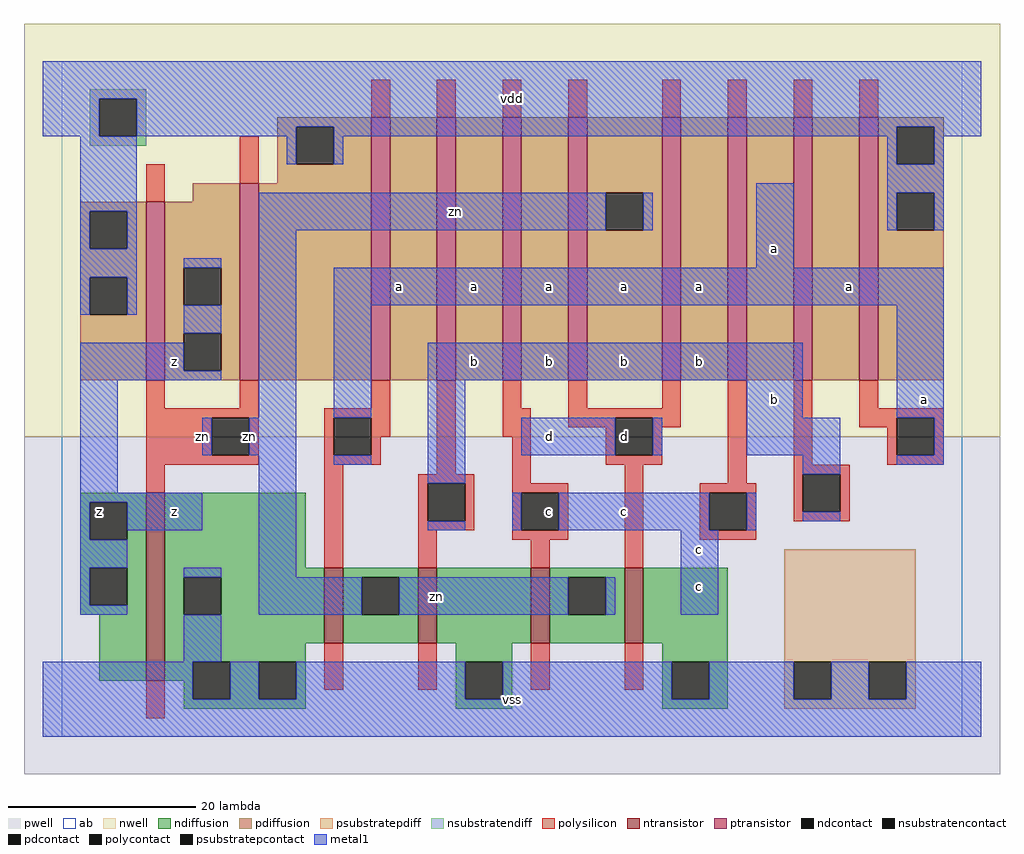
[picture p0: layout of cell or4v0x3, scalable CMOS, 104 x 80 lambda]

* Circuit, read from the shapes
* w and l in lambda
.subckt or4v0x3 a b c d vdd vss z zn
M1 vss zn z vss nfet w=20 l=2
M2 zn a vss vss nfet w=8 l=2
M3 vss b zn vss nfet w=8 l=2
M4 zn c vss vss nfet w=8 l=2
M5 vss d zn vss nfet w=8 l=2
M6 z zn vdd vdd pfet w=19 l=2
M7 vdd zn z vdd pfet w=21 l=2
M8 n1 a vdd vdd pfet w=28 l=2
M9 n2 b n1 vdd pfet w=28 l=2
M10 n3 c n2 vdd pfet w=28 l=2
M11 zn d n3 vdd pfet w=28 l=2
M12 n4 d zn vdd pfet w=28 l=2
M13 n5 c n4 vdd pfet w=28 l=2
M14 n6 b n5 vdd pfet w=28 l=2
M15 vdd a n6 vdd pfet w=28 l=2
.ends

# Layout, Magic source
magic
tech scmos
<< ab >>
rect 0 0 96 72
<< pwell >>
rect -4 -4 100 32
<< nwell >>
rect -4 32 100 76
<< polysilicon >>
rect 33 66 35 70
rect 40 66 42 70
rect 47 66 49 70
rect 54 66 56 70
rect 64 66 66 70
rect 71 66 73 70
rect 78 66 80 70
rect 85 66 87 70
rect 9 57 11 61
rect 19 59 21 64
rect 9 35 11 38
rect 19 35 21 38
rect 33 35 35 38
rect 9 34 21 35
rect 9 30 16 34
rect 20 30 21 34
rect 9 29 21 30
rect 28 34 35 35
rect 28 30 29 34
rect 33 32 35 34
rect 33 30 34 32
rect 28 29 34 30
rect 9 26 11 29
rect 28 18 30 29
rect 40 28 42 38
rect 47 35 49 38
rect 54 35 56 38
rect 64 35 66 38
rect 47 32 50 35
rect 54 34 66 35
rect 54 33 59 34
rect 38 27 44 28
rect 38 23 39 27
rect 43 23 44 27
rect 38 22 44 23
rect 48 27 50 32
rect 58 30 59 33
rect 63 33 66 34
rect 63 30 64 33
rect 58 29 64 30
rect 48 26 54 27
rect 48 22 49 26
rect 53 22 54 26
rect 38 18 40 22
rect 48 21 54 22
rect 50 18 52 21
rect 60 18 62 29
rect 71 27 73 38
rect 78 29 80 38
rect 85 35 87 38
rect 85 34 94 35
rect 85 33 89 34
rect 88 30 89 33
rect 93 30 94 34
rect 88 29 94 30
rect 78 28 84 29
rect 68 26 74 27
rect 68 22 69 26
rect 73 22 74 26
rect 78 24 79 28
rect 83 24 84 28
rect 78 23 84 24
rect 68 21 74 22
rect 9 2 11 6
rect 28 5 30 10
rect 38 5 40 10
rect 50 5 52 10
rect 60 5 62 10
<< ndiffusion >>
rect 2 25 9 26
rect 2 21 3 25
rect 7 21 9 25
rect 2 18 9 21
rect 2 14 3 18
rect 7 14 9 18
rect 2 13 9 14
rect 4 6 9 13
rect 11 18 26 26
rect 11 17 28 18
rect 11 13 13 17
rect 17 13 28 17
rect 11 10 28 13
rect 30 17 38 18
rect 30 13 32 17
rect 36 13 38 17
rect 30 10 38 13
rect 40 10 50 18
rect 52 17 60 18
rect 52 13 54 17
rect 58 13 60 17
rect 52 10 60 13
rect 62 10 71 18
rect 11 8 26 10
rect 11 6 14 8
rect 13 4 14 6
rect 18 4 21 8
rect 25 4 26 8
rect 42 8 48 10
rect 13 3 26 4
rect 42 4 43 8
rect 47 4 48 8
rect 64 8 71 10
rect 42 3 48 4
rect 64 4 65 8
rect 69 4 71 8
rect 64 3 71 4
<< pdiffusion >>
rect 23 65 33 66
rect 23 61 25 65
rect 29 61 33 65
rect 23 59 33 61
rect 14 57 19 59
rect 2 56 9 57
rect 2 52 3 56
rect 7 52 9 56
rect 2 49 9 52
rect 2 45 3 49
rect 7 45 9 49
rect 2 38 9 45
rect 11 50 19 57
rect 11 46 13 50
rect 17 46 19 50
rect 11 43 19 46
rect 11 39 13 43
rect 17 39 19 43
rect 11 38 19 39
rect 21 38 33 59
rect 35 38 40 66
rect 42 38 47 66
rect 49 38 54 66
rect 56 58 64 66
rect 56 54 58 58
rect 62 54 64 58
rect 56 38 64 54
rect 66 38 71 66
rect 73 38 78 66
rect 80 38 85 66
rect 87 65 94 66
rect 87 61 89 65
rect 93 61 94 65
rect 87 58 94 61
rect 87 54 89 58
rect 93 54 94 58
rect 87 38 94 54
<< metal1 >>
rect -2 68 98 72
rect -2 64 4 68
rect 8 65 98 68
rect 8 64 25 65
rect 2 56 8 64
rect 24 61 25 64
rect 29 64 89 65
rect 29 61 30 64
rect 88 61 89 64
rect 93 64 98 65
rect 93 61 94 64
rect 2 52 3 56
rect 7 52 8 56
rect 2 49 8 52
rect 21 54 58 58
rect 62 54 63 58
rect 2 45 3 49
rect 7 45 8 49
rect 13 50 17 51
rect 13 43 17 46
rect 2 39 13 42
rect 2 38 17 39
rect 2 26 6 38
rect 21 34 25 54
rect 74 50 78 59
rect 88 58 94 61
rect 88 54 89 58
rect 93 54 94 58
rect 15 30 16 34
rect 20 30 25 34
rect 2 25 15 26
rect 2 21 3 25
rect 7 22 15 25
rect 2 18 7 21
rect 2 14 3 18
rect 2 13 7 14
rect 13 17 17 18
rect 21 17 25 30
rect 29 46 94 50
rect 29 34 33 46
rect 29 29 33 30
rect 39 38 79 42
rect 39 27 43 38
rect 73 34 79 38
rect 89 34 94 46
rect 49 30 59 34
rect 63 30 64 34
rect 73 30 83 34
rect 79 28 83 30
rect 93 30 94 34
rect 89 29 94 30
rect 39 22 43 23
rect 48 22 49 26
rect 53 22 69 26
rect 73 22 74 26
rect 79 23 83 24
rect 21 13 32 17
rect 36 13 54 17
rect 58 13 59 17
rect 66 13 70 22
rect 13 8 17 13
rect -2 4 14 8
rect 18 4 21 8
rect 25 4 43 8
rect 47 4 65 8
rect 69 4 78 8
rect 82 4 86 8
rect 90 4 98 8
rect -2 0 98 4
<< ntransistor >>
rect 9 6 11 26
rect 28 10 30 18
rect 38 10 40 18
rect 50 10 52 18
rect 60 10 62 18
<< ptransistor >>
rect 9 38 11 57
rect 19 38 21 59
rect 33 38 35 66
rect 40 38 42 66
rect 47 38 49 66
rect 54 38 56 66
rect 64 38 66 66
rect 71 38 73 66
rect 78 38 80 66
rect 85 38 87 66
<< polycontact >>
rect 16 30 20 34
rect 29 30 33 34
rect 39 23 43 27
rect 59 30 63 34
rect 49 22 53 26
rect 89 30 93 34
rect 69 22 73 26
rect 79 24 83 28
<< ndcontact >>
rect 3 21 7 25
rect 3 14 7 18
rect 13 13 17 17
rect 32 13 36 17
rect 54 13 58 17
rect 14 4 18 8
rect 21 4 25 8
rect 43 4 47 8
rect 65 4 69 8
<< pdcontact >>
rect 25 61 29 65
rect 3 52 7 56
rect 3 45 7 49
rect 13 46 17 50
rect 13 39 17 43
rect 58 54 62 58
rect 89 61 93 65
rect 89 54 93 58
<< psubstratepcontact >>
rect 78 4 82 8
rect 86 4 90 8
<< nsubstratencontact >>
rect 4 64 8 68
<< psubstratepdiff >>
rect 77 8 91 20
rect 77 4 78 8
rect 82 4 86 8
rect 90 4 91 8
rect 77 3 91 4
<< nsubstratendiff >>
rect 3 68 9 69
rect 3 64 4 68
rect 8 64 9 68
rect 3 63 9 64
<< labels >>
rlabel polysilicon 15 32 15 32 6 zn
rlabel ndcontact 4 24 4 24 6 z
rlabel metal1 12 24 12 24 6 z
rlabel metal1 12 40 12 40 6 z
rlabel metal1 20 32 20 32 6 zn
rlabel metal1 48 4 48 4 6 vss
rlabel polycontact 52 24 52 24 6 c
rlabel metal1 52 32 52 32 6 d
rlabel metal1 44 40 44 40 6 b
rlabel metal1 52 40 52 40 6 b
rlabel metal1 36 48 36 48 6 a
rlabel metal1 44 48 44 48 6 a
rlabel metal1 52 48 52 48 6 a
rlabel metal1 48 68 48 68 6 vdd
rlabel metal1 68 16 68 16 6 c
rlabel metal1 40 15 40 15 6 zn
rlabel metal1 60 24 60 24 6 c
rlabel metal1 68 20 68 20 6 c
rlabel polycontact 60 32 60 32 6 d
rlabel metal1 60 40 60 40 6 b
rlabel metal1 68 40 68 40 6 b
rlabel metal1 76 36 76 36 6 b
rlabel metal1 60 48 60 48 6 a
rlabel metal1 76 52 76 52 6 a
rlabel metal1 68 48 68 48 6 a
rlabel metal1 42 56 42 56 6 zn
rlabel metal1 92 36 92 36 6 a
rlabel metal1 84 48 84 48 6 a
<< end >>
